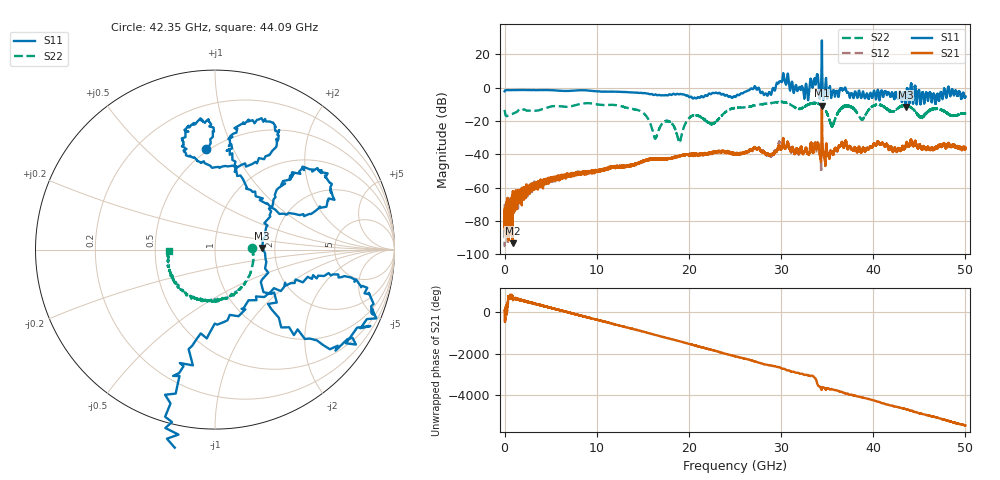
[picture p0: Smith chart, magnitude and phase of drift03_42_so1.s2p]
!Created with skrf (http://scikit-rf.org).
# Hz S RI R 50.0
!freq ReS11 ImS11 ReS21 ImS21 ReS12 ImS12 ReS22 ImS22
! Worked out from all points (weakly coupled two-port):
!   10000 points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, 5.3 MHz to 50 GHz, reference 50 ohm
!   highest |S21| = -10.79 dB at 34.43 GHz (marker M1); lowest = -93.4 dB at 870.3 MHz (marker M2)
!   lowest |S11| = -11.6 dB at 43.52 GHz (marker M3), VSWR 1.71, Z = 85.7 + j1.79 ohm
!   |S11| at or under -10 dB: 43.48456 GHz to 43.48713 GHz (2.572 MHz wide, 0.00592 % of centre); 43.49295 GHz to 43.54364 GHz (50.69 MHz wide, 0.116 % of centre); 43.54787 GHz to 43.5554 GHz (7.525 MHz wide, 0.0173 % of centre) (the widest 3 of 4)
!   |S22| runs from -32.7 to -8.4 dB; largest |S21 - S12| = 0.088
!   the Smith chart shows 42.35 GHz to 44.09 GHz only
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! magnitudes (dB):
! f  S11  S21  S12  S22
! 5.3 MHz  -2.1  -75.3  -69.9  -13.3
! 870.3 MHz  -1.4  -93.4  -66.8  -15.6
! 3.165 GHz  -1.4  -60.5  -58.2  -13.5
! 8.34 GHz  -1.5  -50.7  -51.7  -9.5
! 14.55 GHz  -3.1  -45.3  -45.2  -13.5
! 16.67 GHz  -4.4  -42.8  -42.9  -26.2
! 17.79 GHz  -4.3  -42.7  -42.4  -20.0
! 18.98 GHz  -3.9  -40.9  -41.0  -32.6
! 20.29 GHz  -5.6  -39.8  -40.0  -17.1
! 22.57 GHz  -3.2  -38.7  -39.2  -21.7
! 25.01 GHz  -5.5  -39.6  -39.7  -12.1
! 28.72 GHz  -2.5  -40.1  -40.3  -9.4
! 30.14 GHz  4.4  -33.8  -34.0  -8.5
! 32.74 GHz  2.0  -36.7  -36.6  -10.7
! 33.34 GHz  2.6  -34.9  -35.0  -9.3
! 34.43 GHz  28.4  -10.8  -13.0  -10.9
! 35.54 GHz  -3.1  -38.9  -39.0  -22.7
! 36.95 GHz  0.2  -33.1  -33.3  -11.1
! 38.78 GHz  -5.0  -37.9  -37.9  -19.0
! 41.67 GHz  -3.0  -37.3  -36.9  -13.1
! 43.52 GHz  -11.6  -34.9  -35.0  -10.8
! 50 GHz  -5.2  -36.4  -36.4  -15.4
